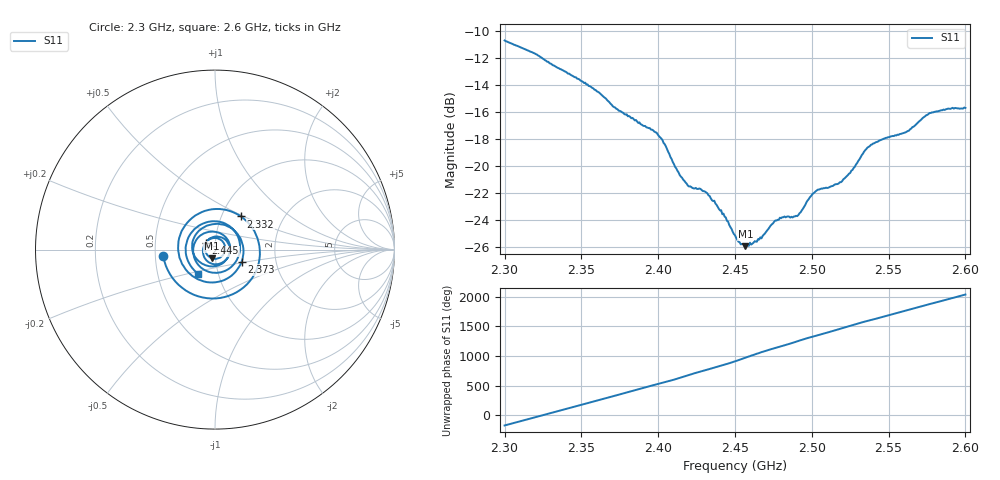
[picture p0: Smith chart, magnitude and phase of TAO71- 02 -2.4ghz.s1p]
! NanoVNA-App
! Date: 2026-05-22 15:35:48
! Start: 2.3GHz Stop: 2.6GHz Points: 401
! S-Parameter data: F S11
# Hz S RI R 50
!  Frequency  S11_Real  S11_Imag
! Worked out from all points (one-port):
!   401 points, 2.3 GHz to 2.6 GHz, reference 50 ohm
!   lowest |S11| = -25.9 dB at 2.457 GHz (marker M1), VSWR 1.11, Z = 48.2 - j4.62 ohm
!   |S11| at or under -10 dB: start of sweep to end of sweep
!   S11 on the Smith chart (normalised r, x): 2.3 GHz: 0.55, -0.05; 2.332 GHz: 1.24, +0.48; 2.373 GHz: 1.33, -0.19; 2.445 GHz: 0.90, +0.07; 2.6 GHz: 0.80, -0.22
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2.3e9  -0.2885 -0.0383
2.3075e9  -0.1401 -0.2409
2.3135e9  0.0537 -0.2644
2.32325e9  0.2479 -0.05
2.33225e9  0.1453 0.1845
2.3375e9  0.00553 0.2263
2.35175e9  -0.2009 -0.027
2.36225e9  -0.0302 -0.1827
2.37275e9  0.148 -0.0677
2.375e9  0.1582 -0.0227
2.38925e9  -0.0087 0.142
2.4005e9  -0.1272 0.0208
2.4125e9  -0.0217 -0.0936
2.426e9  0.082 0.0078
2.44475e9  -0.0512 0.0364
2.45e9  -0.0549 -0.00794
2.45675e9  -0.0166 -0.0478
2.471e9  0.0561 0.0144
2.4875e9  -0.0495 0.0415
2.5055e9  0.0137 -0.0811
2.525e9  0.0338 0.088
2.54225e9  -0.1207 -0.0226
2.55275e9  -0.0146 -0.1283
2.5625e9  0.1215 -0.0583
2.57075e9  0.123 0.0814
2.5805e9  -0.0251 0.1568
2.59025e9  -0.1579 0.0391
2.6e9  -0.0949 -0.1338
